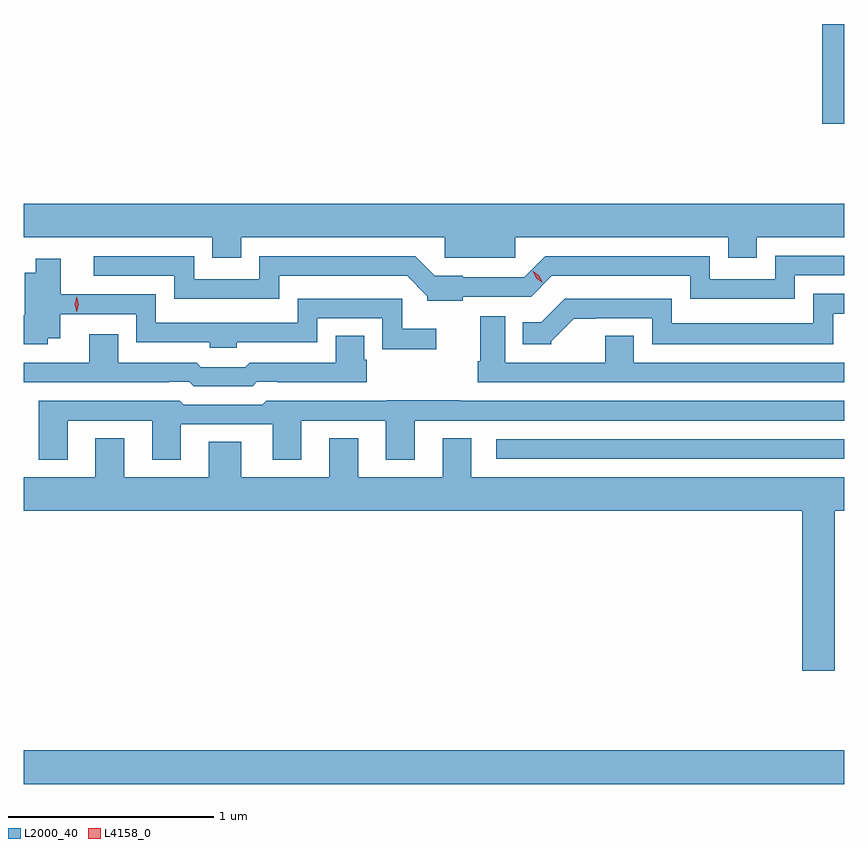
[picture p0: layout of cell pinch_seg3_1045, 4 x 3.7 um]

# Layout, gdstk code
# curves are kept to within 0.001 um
import gdstk
lib = gdstk.Library(unit=1e-6, precision=1e-09)
def R(c, l, rs):  # rectangles x0, y0, x1, y1
    for r in rs: c.add(gdstk.rectangle(r[:2], r[2:], *l))
def P(c, l, *ps):  # polygons
    for p in ps: c.add(gdstk.Polygon(p, *l))
L2000_40 = (2000, 40)
L4158_0 = (4158, 0)

pinch_seg3_1045 = lib.new_cell('pinch_seg3_1045')
R(pinch_seg3_1045, L2000_40, [(363.603,736.88,367.603,737.044), (365.907,738.465,367.603,738.561), (367.496,740.097,367.603,740.584)])
P(pinch_seg3_1045, L2000_40, [(364.663,739.544),(365.655,739.544),(365.655,739.445),(365.998,739.445),(365.998,739.544),(367.037,739.544),(367.037,739.445),(367.177,739.445),(367.177,739.544),(367.603,739.544),(367.603,739.708),(363.603,739.708),(363.603,739.544),(364.523,739.544),(364.523,739.445),(364.663,739.445)],
  [(365.742,739.254),(366.076,739.254),(366.178,739.356),(366.852,739.356),(366.852,739.245),(367.362,739.245),(367.362,739.359),(367.603,739.359),(367.603,739.455),(367.266,739.455),(367.266,739.341),(366.948,739.341),(366.948,739.452),(366.144,739.452),(366.042,739.35),(365.742,739.35),(365.742,739.356),(365.607,739.356),(365.511,739.452),(364.752,739.452),(364.752,739.341),(364.434,739.341),(364.434,739.452),(363.945,739.452),(363.945,739.356),(364.338,739.356),(364.338,739.245),(364.848,739.245),(364.848,739.356),(365.472,739.356),(365.571,739.257),(365.571,739.235),(365.742,739.235)],
  [(365.614,739.099),(365.448,739.099),(365.448,739.245),(364.938,739.245),(364.938,739.128),(364.248,739.128),(364.248,739.266),(363.784,739.266),(363.784,739.441),(363.662,739.441),(363.662,739.372),(363.608,739.372),(363.608,739.164),(363.603,739.164),(363.603,739.022),(363.721,739.022),(363.721,739.052),(363.782,739.052),(363.782,739.17),(364.152,739.17),(364.152,739.032),(364.509,739.032),(364.509,739.005),(364.641,739.005),(364.641,739.032),(365.034,739.032),(365.034,739.149),(365.352,739.149),(365.352,739),(365.614,739)],
  [(366.174,739.038),(366.284,739.148),(366.666,739.149),(366.666,739.022),(367.548,739.022),(367.548,739.173),(367.603,739.173),(367.603,739.269),(367.452,739.269),(367.452,739.126),(366.762,739.126),(366.762,739.245),(366.24,739.245),(366.126,739.131),(366.035,739.131),(366.035,739.022),(366.174,739.022)],
  [(367.603,738.933),(366.577,738.933),(366.577,739.064),(366.437,739.064),(366.437,738.933),(365.95,738.933),(365.95,739.159),(365.828,739.159),(365.828,738.94),(365.816,738.94),(365.816,738.837),(367.603,738.837)],
  [(364.74,738.84),(364.84,738.84),(364.84,738.837),(365.276,738.837),(365.276,738.948),(365.263,738.948),(365.263,739.064),(365.123,739.064),(365.123,738.933),(364.704,738.933),(364.683,738.912),(364.467,738.912),(364.446,738.933),(364.063,738.933),(364.063,739.072),(363.923,739.072),(363.923,738.933),(363.603,738.933),(363.603,738.837),(364.31,738.837),(364.31,738.84),(364.41,738.84),(364.431,738.819),(364.719,738.819)],
  [(363.817,738.651),(364.229,738.651),(364.229,738.461),(364.369,738.461),(364.369,738.633),(364.817,738.633),(364.817,738.461),(364.957,738.461),(364.957,738.651),(365.369,738.651),(365.369,738.461),(365.509,738.461),(365.509,738.651),(367.603,738.651),(367.603,738.747),(365.732,738.747),(365.732,738.75),(365.373,738.75),(365.373,738.747),(364.785,738.747),(364.767,738.729),(364.383,738.729),(364.365,738.747),(363.677,738.747),(363.677,738.461),(363.817,738.461)],
  [(367.557,738.212),(367.603,738.212),(367.603,738.376),(365.785,738.376),(365.785,738.566),(365.645,738.566),(365.645,738.376),(365.233,738.376),(365.233,738.566),(365.093,738.566),(365.093,738.376),(364.663,738.376),(364.663,738.548),(364.505,738.548),(364.505,738.376),(364.093,738.376),(364.093,738.566),(363.953,738.566),(363.953,738.376),(363.603,738.376),(363.603,738.212),(367.397,738.212),(367.397,737.433),(367.557,737.433)])
P(pinch_seg3_1045, L4158_0, [(366.132,739.324),(366.101,739.345),(366.085,739.378),(366.085,739.378),(366.086,739.378),(366.116,739.358),(366.132,739.324),(366.132,739.324)],
  [(363.861,739.182),(363.861,739.182),(363.851,739.218),(363.861,739.254),(363.861,739.254),(363.862,739.254),(363.871,739.218),(363.862,739.182)])

lib.write_gds('pinch_seg3_1045.gds')
